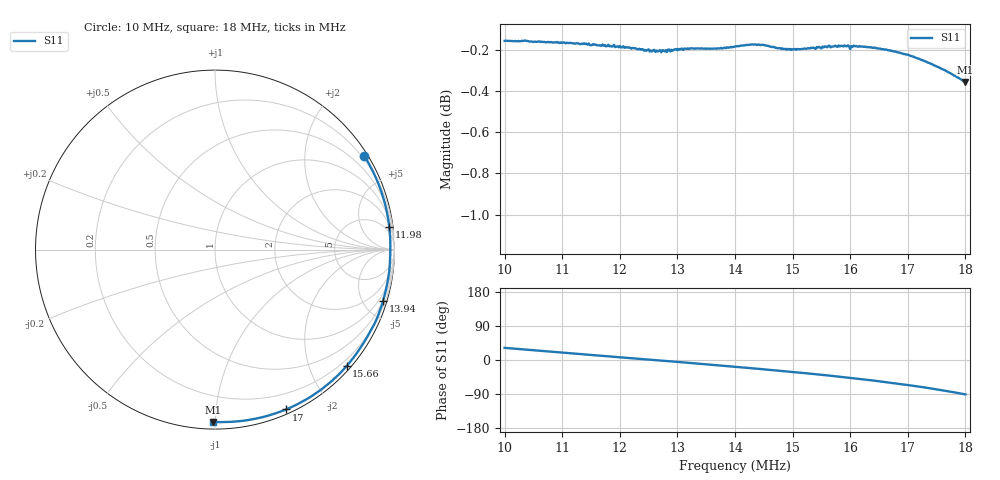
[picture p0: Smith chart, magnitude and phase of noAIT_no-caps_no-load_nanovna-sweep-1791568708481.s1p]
! NanoVNA Web complex sweep
! Processing: original sample grid, no browser smoothing
# Hz S RI R 50
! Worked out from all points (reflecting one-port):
!   401 points, 10 MHz to 18 MHz, reference 50 ohm
!   lowest |S11| = -0.4 dB at 18 MHz (marker M1), VSWR 48.95, Z = 2.01 - j49.3 ohm
!   phase of S11 starts at 32 deg and turns -123 deg over the sweep
!   S11 on the Smith chart (normalised r, x): 10 MHz: 0.12, +3.48; 11.98 MHz: 2, +15; 13.94 MHz: 0.49, -6.65; 15.66 MHz: 0.09, -2.64; 17 MHz: 0.04, -1.54; 18 MHz: 0.04, -0.99
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1e7  0.8326 0.5211
1.01e7  0.8438 0.5027
1.056e7  0.8895 0.4153
1.1e7  0.9247 0.3281
1.142e7  0.9502 0.2428
1.17e7  0.9626 0.1851
1.198e7  0.9705 0.1269
1.2e7  0.9718 0.122
1.246e7  0.9764 0.0259
1.3e7  0.9733 -0.0853
1.344e7  0.9613 -0.1799
1.394e7  0.9359 -0.2862
1.4e7  0.9323 -0.2992
1.426e7  0.9132 -0.3561
1.448e7  0.893 -0.404
1.5e7  0.8325 -0.5122
1.532e7  0.7891 -0.5785
1.566e7  0.7328 -0.6486
1.6e7  0.6656 -0.7162
1.626e7  0.6075 -0.7679
1.652e7  0.5409 -0.8148
1.676e7  0.4725 -0.8545
1.7e7  0.3962 -0.8905
1.728e7  0.2974 -0.9247
1.754e7  0.1949 -0.948
1.778e7  0.0908 -0.9596
1.796e7  0.00643 -0.9604
1.8e7  -0.0129 -0.9599
